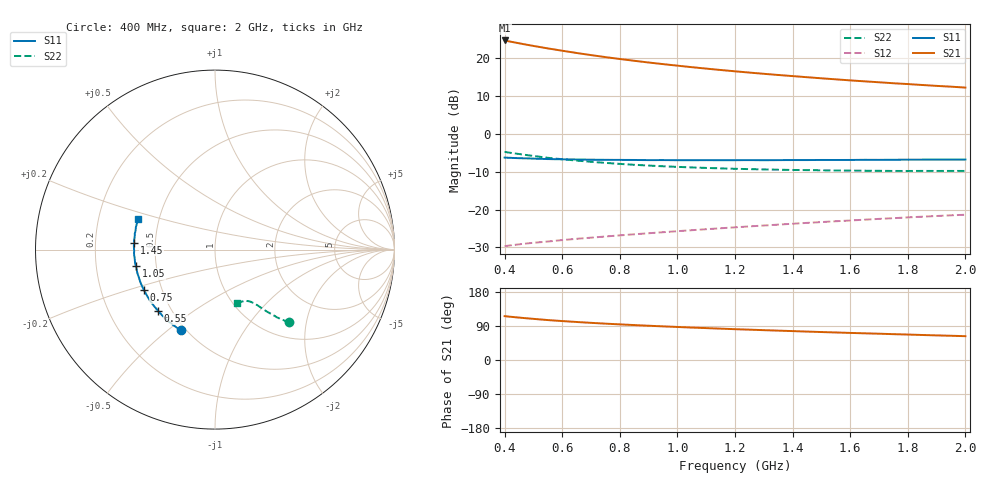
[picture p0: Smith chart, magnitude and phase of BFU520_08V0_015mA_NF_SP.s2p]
! Filename:  P:\Prog\Test\Noise\ATS_data\Testdata_Net\06 Compressed Noise after Statistics\BFU520_APG2013_37_A05_08p0V_015mA_NF_CM01_D.sf
! Date/Time: Fri 26/Apr/2013 14:13:12
! BFU520_APG2013_37_A05_08p0V_1to20mA_NF_CM01_Bias7_R.sf
! Noise Parameter Data File
! BFU520_APG2013_37_A05_08p0V_1to20mA_NF_CM01
! Date/time: Tue Apr 23 18:16:22 2013
! VAR V_out= 8.001000
! VAR I_out= 14.990000
! VAR V_in= 0.825400
! VAR I_in= 0.166100
! Device data file deembeded for feedlines and parallel
! Original file: \06 Compressed Noise after Statistics\BFU520_APG2013_37_A05_08p0V_015mA_NF_CM01_R.sf
! Feed-files: PR047V01_250413_Feed1.s2p, PR047V01_250413_Feed2.s2p
! Parallel-file: PR047V01_250413_Par.s2p
# MHz S MA R 50
!  Freq-MHz  S11-mag  S11-arg  S21-mag  S21-arg  S12-mag  S12-arg  S22-mag  S22-arg
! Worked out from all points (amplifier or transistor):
!   37 points, 400 MHz to 2 GHz, reference 50 ohm
!   highest |S21| = 24.8 dB at 400 MHz (marker M1)
!   |S21| within 3 dB of that: start of sweep to 623.6 MHz
!   unconditionally stable (mu >= 1): 1.56 GHz to end of sweep
!   at 500 MHz: K = 0.58, MSG = 26.1 dB, |S12| = -28.8 dB
!   at 1.1 GHz: K = 0.90, MSG = 21.3 dB, |S12| = -25.2 dB
!   at 2 GHz: K = 1.05, MAG = 15.5 dB, |S12| = -21.4 dB
!   lowest NFmin = 1.02 dB at 420 MHz
!   S11 on the Smith chart (normalised r, x): 400 MHz: 0.47, -0.55; 550 MHz: 0.42, -0.37; 750 MHz: 0.40, -0.22; 1.05 GHz: 0.38, -0.09; 1.45 GHz: 0.38, +0.04; 2 GHz: 0.38, +0.16
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400  0.4875 -113.1  17.32 115.7  0.03278 53.7  0.5797 -44.3
433  0.4817 -117.9  16.36 113.2  0.03404 53.2  0.5552 -45.5
460  0.4775 -121.8  15.63 111.2  0.03501 52.9  0.5378 -46.4
500  0.4727 -126.8  14.66 108.6  0.03635 52.5  0.513 -47.5
550  0.4662 -132.9  13.6 105.4  0.03775 52.4  0.4845 -48.5
600  0.4626 -137.8  12.66 102.8  0.03946 52.4  0.4642 -49.4
650  0.4601 -142.4  11.83 100.3  0.04103 52.4  0.4451 -50.3
700  0.4575 -146.4  11.09 98.1  0.04249 52.6  0.4288 -50.8
750  0.4552 -150.4  10.43 95.9  0.04402 52.9  0.4151 -51.5
800  0.4546 -153.7  9.848 94.0  0.04554 53.2  0.4024 -52.1
850  0.4535 -157.0  9.326 92.2  0.04708 53.5  0.3915 -52.6
900  0.4515 -160.3  8.848 90.4  0.04861 53.8  0.3826 -53.2
950  0.452 -163.0  8.424 88.8  0.05015 54.1  0.3741 -53.7
1050  0.4503 -168.4  7.674 85.6  0.05334 54.8  0.3615 -54.8
1150  0.4503 -172.9  7.041 82.7  0.05657 55.4  0.351 -55.8
1200  0.4508 -175.2  6.764 81.3  0.05819 55.6  0.3468 -56.5
1300  0.4504 -179.2  6.27 78.7  0.06152 56.1  0.34 -57.5
1450  0.4523 175.0  5.65 75.0  0.06667 56.6  0.3328 -59.4
1500  0.4538 173.5  5.467 73.8  0.06834 56.7  0.331 -60.1
1600  0.4538 169.9  5.129 71.5  0.07169 56.9  0.328 -61.5
1750  0.4564 165.3  4.702 68.2  0.07693 57.1  0.3246 -63.6
2000  0.4595 158.5  4.12 62.9  0.08544 57.1  0.3246 -67.6
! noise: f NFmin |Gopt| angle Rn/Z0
400  1.121  0.09915  174.4  0.1143
460  1.046  0.1637  -172.8  0.0905
600  1.095  0.1264  -171.5  0.1081
800  1.094  0.1591  -173.4  0.0957
1000  1.129  0.1603  -172.2  0.0963
1200  1.152  0.1762  -166.9  0.0969
1400  1.181  0.1939  -165.1  0.0962
1600  1.197  0.2029  -160.7  0.0984
1800  1.157  0.2192  -158.6  0.0982
2000  1.262  0.2275  -156.8  0.1006
